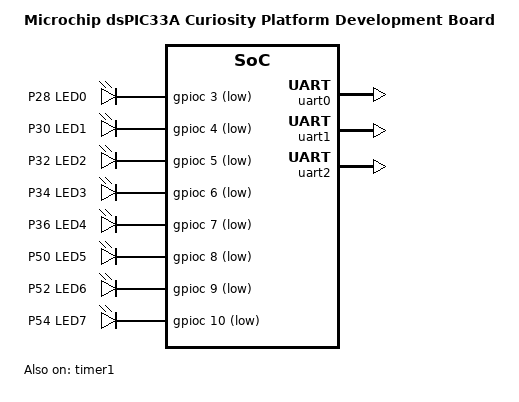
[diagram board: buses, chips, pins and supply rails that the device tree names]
/*
 * Copyright (c) 2025, Microchip Technology Inc.
 * SPDX-License-Identifier: Apache-2.0
 */

/dts-v1/;
#include "p33ak128mc106.dtsi"
#include <zephyr/dt-bindings/gpio/gpio.h>

/ {
	model = "Microchip dsPIC33A Curiosity Platform Development Board";
	compatible = "microchip,dspic33a-criosity-p33ak128mc106";

	chosen {
		zephyr,flash = &flash0;
		zephyr,sram = &sram0;
		zephyr,serial = &uart0;
		zephyr,console = &uart0;
		zephyr,shell-uart = &uart0;
		uart,passthrough = &uart1;
	};

	leds {
		compatible = "gpio-leds";

		led0: led_0 {
			gpios = <&gpioc 3 GPIO_ACTIVE_LOW>;
			label = "P28 LED0";
		};
		led1: led_1 {
			gpios = <&gpioc 4 GPIO_ACTIVE_LOW>;
			label = "P30 LED1";
		};
		led2: led_2 {
			gpios = <&gpioc 5 GPIO_ACTIVE_LOW>;
			label = "P32 LED2";
		};
		led3: led_3 {
			gpios = <&gpioc 6 GPIO_ACTIVE_LOW>;
			label = "P34 LED3";
		};
		led4: led_4 {
			gpios = <&gpioc 7 GPIO_ACTIVE_LOW>;
			label = "P36 LED4";
		};
		led5: led_5 {
			gpios = <&gpioc 8 GPIO_ACTIVE_LOW>;
			label = "P50 LED5";
		};
		led6: led_6 {
			gpios = <&gpioc 9 GPIO_ACTIVE_LOW>;
			label = "P52 LED6";
		};
		led7: led_7 {
			gpios = <&gpioc 10 GPIO_ACTIVE_LOW>;
			label = "P54 LED7";
		};
	};

	aliases {
		uart-0 = &uart0;
		uart-1 = &uart1;
		uart-2 = &uart2;
		led0 = &led0;
		led1 = &led1;
		led2 = &led2;
		led3 = &led3;
		led4 = &led4;
		led5 = &led5;
		led6 = &led6;
		led7 = &led7;

	};
};

&cpu0 {
	clock-frequency = <8000000>;
	status = "okay";
	cpu-power-states = <&idle>;
};

&timer1 {
	status = "okay";
};

&uart0 {
	status = "okay";
};

&uart1 {
	status = "okay";
};

&uart2 {
	status = "okay";
};
